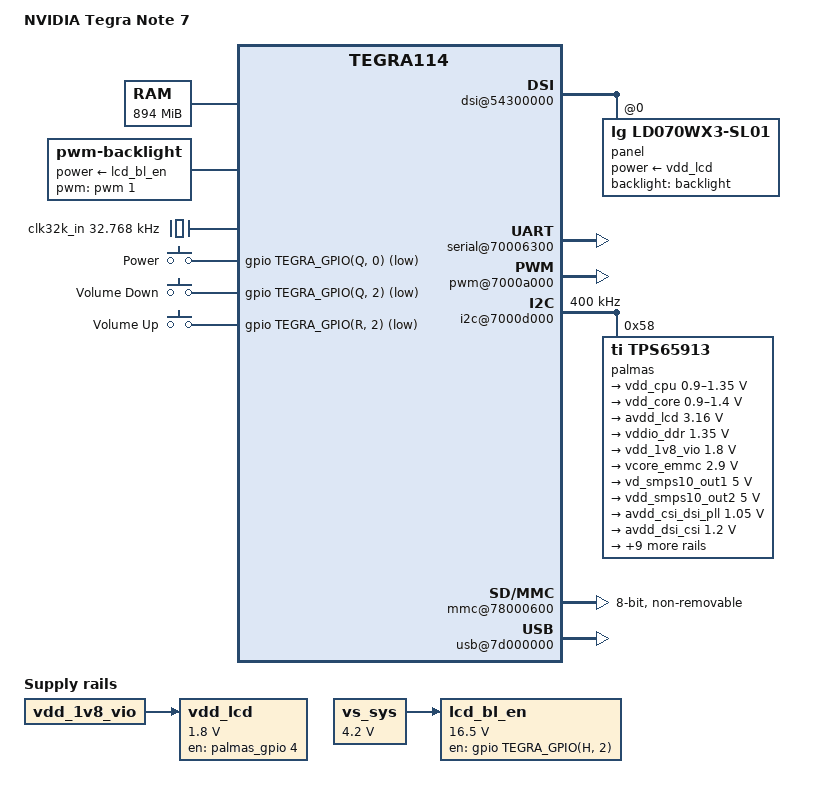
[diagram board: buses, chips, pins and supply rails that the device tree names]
// SPDX-License-Identifier: GPL-2.0
/dts-v1/;

#include <dt-bindings/input/input.h>
#include "tegra114.dtsi"

/ {
	model = "NVIDIA Tegra Note 7";
	compatible = "nvidia,tegratab", "nvidia,tegra114";
	chassis-type = "tablet";

	chosen {
		/* TN7's bootloader's arguments need to be overridden */
		bootargs = "console=ttyS0,115200n8 console=tty1 gpt fbcon=rotate:2";
		/* TN7's bootloader will place initrd at this address */
		linux,initrd-start = <0x82000000>;
		linux,initrd-end = <0x82800000>;
	};

	aliases {
		serial0 = &uartd;
	};

	firmware {
		trusted-foundations {
			compatible = "tlm,trusted-foundations";
			tlm,version-major = <2>;
			tlm,version-minor = <8>;
		};
	};

	memory@80000000 {
		/* memory >= 0x37e00000 is reserved for firmware usage */
		reg = <0x80000000 0x37e00000>;
	};

	host1x@50000000 {
		dsi@54300000 {
			status = "okay";

			avdd-dsi-csi-supply = <&avdd_dsi_csi>;

			panel@0 {
				compatible = "lg,ld070wx3-sl01";
				reg = <0>;

				power-supply = <&vdd_lcd>;
				backlight = <&backlight>;
			};
		};
	};

	serial@70006300 {
		status = "okay";
	};

	pwm@7000a000 {
		status = "okay";
	};

	i2c@7000d000 {
		status = "okay";
		clock-frequency = <400000>;

		palmas: pmic@58 {
			compatible = "ti,tps65913", "ti,palmas";
			reg = <0x58>;
			interrupts = <GIC_SPI 86 IRQ_TYPE_LEVEL_HIGH>;

			#interrupt-cells = <2>;
			interrupt-controller;

			ti,system-power-controller;

			palmas_extcon: extcon {
				compatible = "ti,palmas-usb-vid";
				ti,enable-vbus-detection;
				ti,enable-id-detection;
			};

			palmas_clk32kg@0 {
				compatible = "ti,palmas-clk32kg";
				#clock-cells = <0>;
			};

			palmas_gpio: gpio {
				compatible = "ti,palmas-gpio";
				gpio-controller;
				#gpio-cells = <2>;
			};

			pinmux {
				compatible = "ti,tps65913-pinctrl";
				ti,palmas-enable-dvfs1;

				pinctrl-names = "default";
				pinctrl-0 = <&palmas_default>;

				palmas_default: pinmux {
					pin_powergood {
						pins = "powergood";
						function = "powergood";
					};

					pin_vac {
						pins = "vac";
						function = "vac";
					};

					pin_gpio0 {
						pins = "gpio0";
						function = "gpio";
					};

					pin_gpio1 {
						pins = "gpio1";
						function = "gpio";
					};

					pin_gpio2 {
						pins = "gpio2";
						function = "gpio";
					};

					pin_gpio3 {
						pins = "gpio3";
						function = "gpio";
					};

					pin_gpio4 {
						pins = "gpio4";
						function = "gpio";
					};

					pin_gpio5 {
						pins = "gpio5";
						function = "gpio";
					};

					pin_gpio6 {
						pins = "gpio6";
						function = "gpio";
					};

					pin_gpio7 {
						pins = "gpio7";
						function = "gpio";
					};
				};
			};

			pmic {
				compatible = "ti,tps65913-pmic", "ti,palmas-pmic";

				ldo1-in-supply = <&vddio_ddr>;
				ldo2-in-supply = <&vddio_ddr>;
				ldo5-in-supply = <&vcore_emmc>;
				ldo6-in-supply = <&vcore_emmc>;
				ldo7-in-supply = <&vcore_emmc>;
				ldo9-in-supply = <&vcore_emmc>;
				ldoln-in-supply = <&vdd_smps10_out2>;

				regulators {
					vdd_cpu: smps123 {
						regulator-name = "vdd_cpu";
						regulator-min-microvolt = <900000>;
						regulator-max-microvolt = <1350000>;
						regulator-always-on;
						regulator-boot-on;
						ti,roof-floor = <1>;
						ti,mode-sleep = <3>;
					};

					vdd_core: smps45 {
						regulator-name = "vdd_core";
						regulator-min-microvolt = <900000>;
						regulator-max-microvolt = <1400000>;
						regulator-always-on;
						regulator-boot-on;
						ti,roof-floor = <3>;
					};

					avdd_lcd: smps6 {
						regulator-name = "vdd_lcd_hv";
						regulator-min-microvolt = <3160000>;
						regulator-max-microvolt = <3160000>;
						regulator-boot-on;
					};

					vddio_ddr: smps7 {
						regulator-name = "vddio_ddr";
						regulator-min-microvolt = <1350000>;
						regulator-max-microvolt = <1350000>;
						regulator-always-on;
						regulator-boot-on;
					};

					vdd_1v8_vio: smps8 {
						regulator-name = "vdd_1v8_gen";
						regulator-min-microvolt = <1800000>;
						regulator-max-microvolt = <1800000>;
						regulator-always-on;
						regulator-boot-on;
					};

					vcore_emmc: smps9 {
						regulator-name = "vdd_sdmmc";
						regulator-min-microvolt = <2900000>;
						regulator-max-microvolt = <2900000>;
						regulator-boot-on;
					};

					smps10_out1 {
						regulator-name = "vd_smps10_out1";
						regulator-min-microvolt = <5000000>;
						regulator-max-microvolt = <5000000>;
						regulator-always-on;
						regulator-boot-on;
					};

					vdd_smps10_out2: smps10_out2 {
						regulator-name = "vd_smps10_out2";
						regulator-min-microvolt = <5000000>;
						regulator-max-microvolt = <5000000>;
						regulator-always-on;
						regulator-boot-on;
					};

					ldo1 {
						regulator-name = "avdd_csi_dsi_pll";
						regulator-min-microvolt = <1050000>;
						regulator-max-microvolt = <1050000>;
						regulator-always-on;
						regulator-boot-on;
						ti,roof-floor = <3>;
					};

					avdd_dsi_csi: ldo2 {
						regulator-name = "avdd_dsi_csi";
						regulator-min-microvolt = <1200000>;
						regulator-max-microvolt = <1200000>;
						regulator-boot-on;
					};

					ldo3 {
						regulator-name = "vpp_fuse";
						regulator-min-microvolt = <1800000>;
						regulator-max-microvolt = <1800000>;
					};

					ldo4 {
						regulator-name = "avdd_ts";
						regulator-min-microvolt = <3000000>;
						regulator-max-microvolt = <3300000>;
					};

					ldo5 {
						regulator-name = "vdd_2v8_vcm";
						regulator-min-microvolt = <2800000>;
						regulator-max-microvolt = <2800000>;
					};

					ldo6 {
						regulator-name = "vdd_dev";
						regulator-min-microvolt = <2850000>;
						regulator-max-microvolt = <2850000>;
					};

					ldo7 {
						regulator-name = "avdd_cam1";
						regulator-min-microvolt = <2700000>;
						regulator-max-microvolt = <2700000>;
					};

					ldo8 {
						regulator-name = "vdd_rtc";
						regulator-min-microvolt = <950000>;
						regulator-max-microvolt = <950000>;
						regulator-always-on;
						regulator-boot-on;
						ti,enable-ldo8-tracking;
					};

					vddio_usd: ldo9 {
						regulator-name = "vddio_sdmmc";
						regulator-min-microvolt = <1800000>;
						regulator-max-microvolt = <2900000>;
					};

					avdd_hdmi: ldoln {
						regulator-name = "avdd_hdmi";
						regulator-min-microvolt = <3300000>;
						regulator-max-microvolt = <3300000>;
						regulator-boot-on;
					};

					avdd_usb: ldousb {
						regulator-name = "avdd_usb";
						regulator-min-microvolt = <3300000>;
						regulator-max-microvolt = <3300000>;
						regulator-boot-on;
					};
				};
			};

			rtc {
				compatible = "ti,palmas-rtc";
				interrupt-parent = <&palmas>;
				interrupts = <8 IRQ_TYPE_NONE>;
			};

		};
	};

	pmc@7000e400 {
		status = "okay";
		nvidia,invert-interrupt;
		nvidia,suspend-mode = <2>;
		nvidia,cpu-pwr-good-time = <300>;
		nvidia,cpu-pwr-off-time = <300>;
		nvidia,core-pwr-good-time = <641 3845>;
		nvidia,core-pwr-off-time = <2000>;
		nvidia,core-power-req-active-high;
		nvidia,sys-clock-req-active-high;

		/* Clear DEV_ON bit in DEV_CTRL register of TPS65913 PMIC */
		i2c-thermtrip {
			nvidia,i2c-controller-id = <4>;
			nvidia,bus-addr = <0x58>;
			nvidia,reg-addr = <0xA0>;
			nvidia,reg-data = <0x00>;
		};
	};

	/* eMMC */
	mmc@78000600 {
		status = "okay";
		bus-width = <8>;
		non-removable;
	};

	usb@7d000000 {
		status = "okay";
	};

	usb-phy@7d000000 {
		status = "okay";
		nvidia,xcvr-setup = <7>;
		nvidia,xcvr-lsfslew = <2>;
		nvidia,xcvr-lsrslew = <2>;
		interrupts = <GIC_SPI 20 IRQ_TYPE_LEVEL_HIGH>;
		/* Should be changed to "otg" once we have vbus_supply */
		/* As of now, USB devices need to be powered externally */
		dr_mode = "host";
	};

	backlight: backlight {
		compatible = "pwm-backlight";
		pwms = <&pwm 1 40000>;

		brightness-levels = <0 4 8 16 32 64 128 255>;
		default-brightness-level = <6>;

		power-supply = <&lcd_bl_en>;
	};

	clk32k_in: clock-32k {
		compatible = "fixed-clock";
		clock-frequency = <32768>;
		#clock-cells = <0>;
	};

	gpio-keys {
		compatible = "gpio-keys";

		key-power {
			label = "Power";
			gpios = <&gpio TEGRA_GPIO(Q, 0) GPIO_ACTIVE_LOW>;
			linux,code = <KEY_POWER>;
			wakeup-source;
		};

		key-volume-down {
			label = "Volume Down";
			gpios = <&gpio TEGRA_GPIO(Q, 2) GPIO_ACTIVE_LOW>;
			linux,code = <KEY_VOLUMEDOWN>;
		};

		key-volume-up {
			label = "Volume Up";
			gpios = <&gpio TEGRA_GPIO(R, 2) GPIO_ACTIVE_LOW>;
			linux,code = <KEY_VOLUMEUP>;
		};
	};

	/* FIXME: output of BQ24192 */
	vs_sys: regulator-vs {
		compatible = "regulator-fixed";
		regulator-name = "VS_SYS";
		regulator-min-microvolt = <4200000>;
		regulator-max-microvolt = <4200000>;
		regulator-always-on;
		regulator-boot-on;
	};

	lcd_bl_en: regulator-lcden {
		compatible = "regulator-fixed";
		regulator-name = "VDD_LCD_BL";
		regulator-min-microvolt = <16500000>;
		regulator-max-microvolt = <16500000>;
		gpio = <&gpio TEGRA_GPIO(H, 2) GPIO_ACTIVE_HIGH>;
		enable-active-high;
		vin-supply = <&vs_sys>;
		regulator-boot-on;
	};

	vdd_lcd: regulator-lcd {
		compatible = "regulator-fixed";
		regulator-name = "VD_LCD_1V8";
		regulator-min-microvolt = <1800000>;
		regulator-max-microvolt = <1800000>;
		gpio = <&palmas_gpio 4 GPIO_ACTIVE_HIGH>;
		enable-active-high;
		vin-supply = <&vdd_1v8_vio>;
		regulator-boot-on;
	};
};
